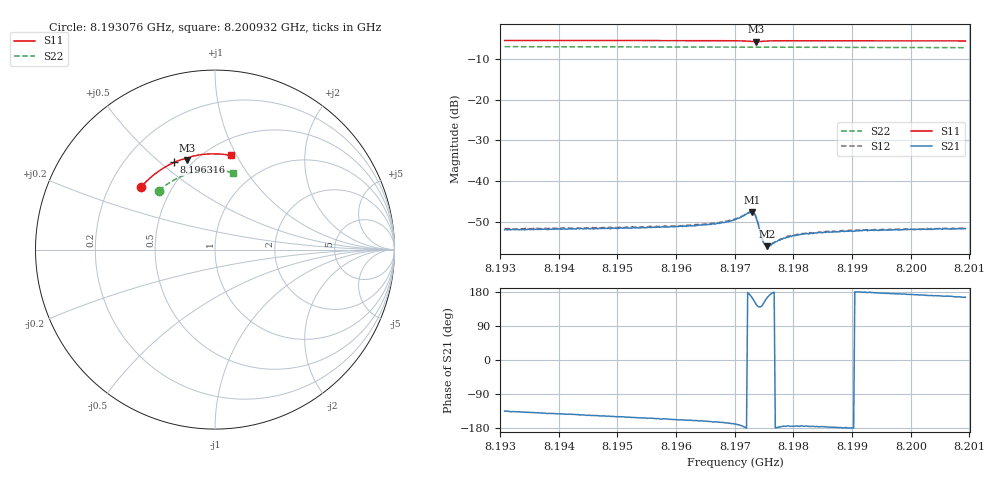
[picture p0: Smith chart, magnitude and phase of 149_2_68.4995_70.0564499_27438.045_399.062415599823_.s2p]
#  HZ  S  RI  R  50.00
! Rohde & Schwarz Vector Network Analyzer
! Rohde-Schwarz,ZNB20-2Port,1311601062101988,3.16
! Created: UTC 3/20/2024, 5:10:21 PM
! freq[Hz]  re:S11  im:S11  re:S21  im:S21  re:S12  im:S12  re:S22  im:S22
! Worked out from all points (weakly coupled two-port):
!   401 points, 8.193076 GHz to 8.200932 GHz, reference 50 ohm
!   highest |S21| = -47.65 dB at 8.197298 GHz (marker M1); lowest = -56.0 dB at 8.197553 GHz (marker M2)
!   lowest |S11| = -5.7 dB at 8.197357 GHz (marker M3), VSWR 3.17, Z = 23 + j31.4 ohm
!   |S11| at or under -10 dB: nowhere
!   |S22| runs from -7.1 to -6.9 dB; largest |S21 - S12| = 0.00023
!   S11 on the Smith chart (normalised r, x): 8.193076 GHz: 0.34, +0.33; 8.196316 GHz: 0.41, +0.56; 8.200932 GHz: 0.65, +0.95
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8.1930755e9  -0.4097 0.3507  -0.00177 -0.00179  -0.00189 -0.00181  -0.3114 0.3282
8.1943914e9  -0.3429 0.4149  -0.00213 -0.0015  -0.00223 -0.00143  -0.2531 0.3727
8.1957073e9  -0.2658 0.467  -0.00246 -0.00114  -0.00255 -0.00108  -0.1881 0.4073
8.1963162e9  -0.2269 0.4863  -0.00265 -0.000963  -0.00273 -0.000909  -0.1562 0.4196
8.196709e9  -0.2002 0.497  -0.00292 -0.000844  -0.00299 -0.000749  -0.1348 0.4262
8.1970036e9  -0.1787 0.5036  -0.0033 -0.000639  -0.0034 -0.000533  -0.1189 0.4303
8.1972392e9  -0.1582 0.5036  -0.00405 0.000356  -0.00408 0.000516  -0.1058 0.4332
8.1972982e9  -0.1546 0.4998  -0.00398 0.00116  -0.00401 0.00137  -0.1027 0.4337
8.1973178e9  -0.1544 0.4983  -0.00376 0.00145  -0.00376 0.00167  -0.1015 0.4339
8.1973571e9  -0.1558 0.4964  -0.0031 0.0019  -0.00309 0.00206  -0.0995 0.4343
8.1973964e9  -0.1579 0.4974  -0.00235 0.00186  -0.00232 0.00201  -0.0974 0.4348
8.1974749e9  -0.1577 0.5039  -0.00153 0.00104  -0.00151 0.00112  -0.0932 0.4357
8.1975142e9  -0.1553 0.5068  -0.00151 0.000675  -0.00149 0.00075  -0.0909 0.4362
8.1975535e9  -0.1525 0.5092  -0.00153 0.000407  -0.00154 0.000499  -0.0888 0.4365
8.1975928e9  -0.1494 0.5113  -0.00159 0.000236  -0.00166 0.00031  -0.0867 0.437
8.1977695e9  -0.1359 0.5168  -0.00187 -9.47e-05  -0.0019 -3.43e-05  -0.0768 0.4386
8.1979266e9  -0.1242 0.5202  -0.00204 -0.000209  -0.0021 -0.000124  -0.0678 0.4398
8.1981623e9  -0.1072 0.524  -0.00221 -0.000211  -0.00226 -0.000104  -0.0545 0.4412
8.1983194e9  -0.0959 0.5262  -0.00226 -0.000193  -0.00227 -8.36e-05  -0.0457 0.442
8.1989872e9  -0.0483 0.5319  -0.00242 -3.04e-05  -0.00248 0.000102  -0.00784 0.4431
8.1996353e9  -0.00226 0.5334  -0.00248 0.000187  -0.00253 0.000297  0.029 0.441
8.2009316e9  0.0888 0.5246  -0.00251 0.000648  -0.0025 0.000758  0.1015 0.4276
